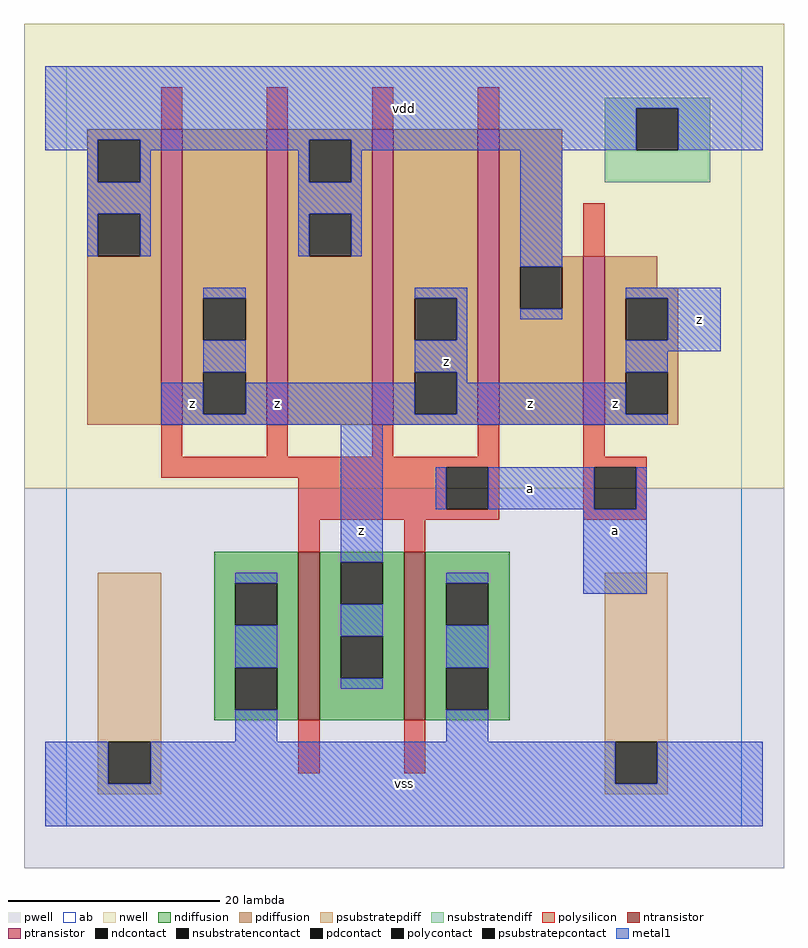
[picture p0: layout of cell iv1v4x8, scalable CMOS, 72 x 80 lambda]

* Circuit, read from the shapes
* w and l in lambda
.subckt iv1v4x8 a vdd vss z
M1 z a vss vss nfet w=16 l=2 m=2
M2 z a vdd vdd pfet w=28 l=2 m=4
M3 z a vdd vdd pfet w=16 l=2
.ends

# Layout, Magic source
magic
tech scmos
<< ab >>
rect 0 0 64 72
<< pwell >>
rect -4 -4 68 32
<< nwell >>
rect -4 32 68 76
<< polysilicon >>
rect 9 66 11 70
rect 19 66 21 70
rect 29 66 31 70
rect 39 66 41 70
rect 49 54 51 59
rect 9 35 11 38
rect 19 35 21 38
rect 29 35 31 38
rect 39 35 41 38
rect 9 34 41 35
rect 9 33 36 34
rect 22 30 36 33
rect 40 30 41 34
rect 22 29 41 30
rect 49 35 51 38
rect 49 34 55 35
rect 49 30 50 34
rect 54 30 55 34
rect 49 29 55 30
rect 22 26 24 29
rect 32 26 34 29
rect 22 5 24 10
rect 32 5 34 10
<< ndiffusion >>
rect 14 23 22 26
rect 14 19 16 23
rect 20 19 22 23
rect 14 15 22 19
rect 14 11 16 15
rect 20 11 22 15
rect 14 10 22 11
rect 24 25 32 26
rect 24 21 26 25
rect 30 21 32 25
rect 24 18 32 21
rect 24 14 26 18
rect 30 14 32 18
rect 24 10 32 14
rect 34 23 42 26
rect 34 19 36 23
rect 40 19 42 23
rect 34 15 42 19
rect 34 11 36 15
rect 40 11 42 15
rect 34 10 42 11
<< pdiffusion >>
rect 2 65 9 66
rect 2 61 3 65
rect 7 61 9 65
rect 2 58 9 61
rect 2 54 3 58
rect 7 54 9 58
rect 2 38 9 54
rect 11 50 19 66
rect 11 46 13 50
rect 17 46 19 50
rect 11 43 19 46
rect 11 39 13 43
rect 17 39 19 43
rect 11 38 19 39
rect 21 65 29 66
rect 21 61 23 65
rect 27 61 29 65
rect 21 58 29 61
rect 21 54 23 58
rect 27 54 29 58
rect 21 38 29 54
rect 31 50 39 66
rect 31 46 33 50
rect 37 46 39 50
rect 31 43 39 46
rect 31 39 33 43
rect 37 39 39 43
rect 31 38 39 39
rect 41 54 47 66
rect 41 53 49 54
rect 41 49 43 53
rect 47 49 49 53
rect 41 38 49 49
rect 51 51 56 54
rect 51 50 58 51
rect 51 46 53 50
rect 57 46 58 50
rect 51 43 58 46
rect 51 39 53 43
rect 57 39 58 43
rect 51 38 58 39
<< metal1 >>
rect -2 68 66 72
rect -2 65 54 68
rect -2 64 3 65
rect 2 61 3 64
rect 7 64 23 65
rect 7 61 8 64
rect 2 58 8 61
rect 2 54 3 58
rect 7 54 8 58
rect 22 61 23 64
rect 27 64 54 65
rect 58 64 66 68
rect 27 61 28 64
rect 22 58 28 61
rect 22 54 23 58
rect 27 54 28 58
rect 43 53 47 64
rect 13 50 17 51
rect 13 43 17 46
rect 9 39 13 42
rect 33 50 38 51
rect 37 46 38 50
rect 43 48 47 49
rect 53 50 62 51
rect 33 43 38 46
rect 17 39 33 42
rect 37 42 38 43
rect 57 46 62 50
rect 53 45 62 46
rect 53 43 57 45
rect 37 39 53 42
rect 9 38 57 39
rect 26 25 30 38
rect 35 30 36 34
rect 40 30 50 34
rect 54 30 55 34
rect 16 23 20 24
rect 16 15 20 19
rect 26 18 30 21
rect 26 13 30 14
rect 36 23 40 24
rect 49 22 55 30
rect 36 15 40 19
rect 16 8 20 11
rect 36 8 40 11
rect -2 4 4 8
rect 8 4 52 8
rect 56 4 66 8
rect -2 0 66 4
<< ntransistor >>
rect 22 10 24 26
rect 32 10 34 26
<< ptransistor >>
rect 9 38 11 66
rect 19 38 21 66
rect 29 38 31 66
rect 39 38 41 66
rect 49 38 51 54
<< polycontact >>
rect 36 30 40 34
rect 50 30 54 34
<< ndcontact >>
rect 16 19 20 23
rect 16 11 20 15
rect 26 21 30 25
rect 26 14 30 18
rect 36 19 40 23
rect 36 11 40 15
<< pdcontact >>
rect 3 61 7 65
rect 3 54 7 58
rect 13 46 17 50
rect 13 39 17 43
rect 23 61 27 65
rect 23 54 27 58
rect 33 46 37 50
rect 33 39 37 43
rect 43 49 47 53
rect 53 46 57 50
rect 53 39 57 43
<< psubstratepcontact >>
rect 4 4 8 8
rect 52 4 56 8
<< nsubstratencontact >>
rect 54 64 58 68
<< psubstratepdiff >>
rect 3 8 9 24
rect 3 4 4 8
rect 8 4 9 8
rect 51 8 57 24
rect 3 3 9 4
rect 51 4 52 8
rect 56 4 57 8
rect 51 3 57 4
<< nsubstratendiff >>
rect 51 68 61 69
rect 51 64 54 68
rect 58 64 61 68
rect 51 61 61 64
<< labels >>
rlabel metal1 12 40 12 40 6 z
rlabel metal1 28 28 28 28 6 z
rlabel metal1 20 40 20 40 6 z
rlabel metal1 32 4 32 4 6 vss
rlabel metal1 44 32 44 32 6 a
rlabel metal1 44 40 44 40 6 z
rlabel metal1 36 44 36 44 6 z
rlabel metal1 32 68 32 68 6 vdd
rlabel metal1 52 28 52 28 6 a
rlabel metal1 52 40 52 40 6 z
rlabel metal1 60 48 60 48 6 z
<< end >>
